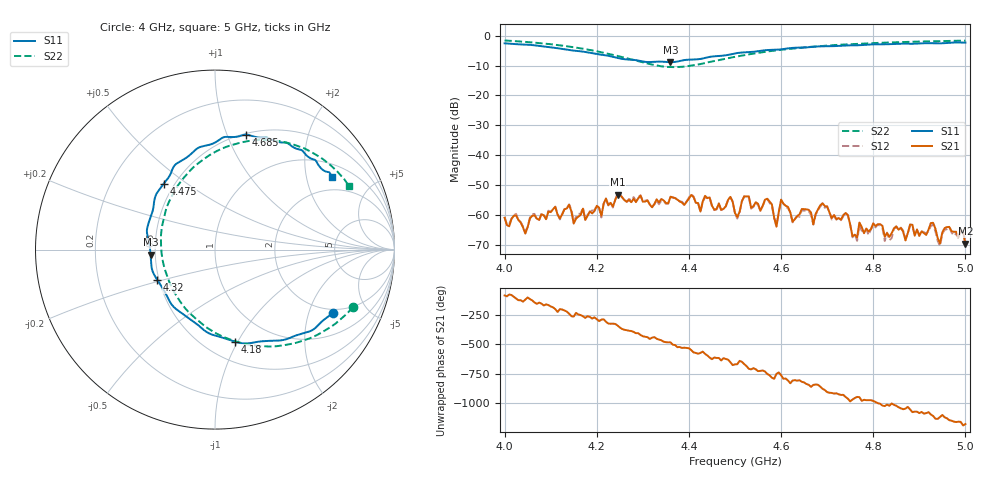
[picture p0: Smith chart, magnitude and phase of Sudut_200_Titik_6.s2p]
# Hz S RI R 50
! CMT, C1220, 16058040, 17.2.0/1
! Date: 15/08/2018 12:11:59
! Data: Format (Calibration Info)
! Freq  S11: Re/Im (F2)  S21: Re/Im (F2)  S12: Re/Im (F2)  S22: Re/Im (F2)
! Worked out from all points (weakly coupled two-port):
!   201 points, 4 GHz to 5 GHz, reference 50 ohm
!   highest |S21| = -53.24 dB at 4.245 GHz (marker M1); lowest = -69.7 dB at 5 GHz (marker M2)
!   lowest |S11| = -8.9 dB at 4.36 GHz (marker M3), VSWR 2.13, Z = 23.6 - j1.52 ohm
!   |S11| at or under -10 dB: nowhere
!   |S22| runs from -10.5 to -1.6 dB; largest |S21 - S12| = 0.00015
!   S11 on the Smith chart (normalised r, x): 4 GHz: 1.81, -2.90; 4.18 GHz: 0.69, -0.98; 4.32 GHz: 0.49, -0.19; 4.475 GHz: 0.44, +0.41; 4.685 GHz: 0.51, +1.17; 5 GHz: 1.45, +2.84
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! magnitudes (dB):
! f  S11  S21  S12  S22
! 4 GHz  -2.6  -61.0  -60.8  -1.6
! 4.045 GHz  -3.0  -66.3  -65.5  -2.1
! 4.17 GHz  -5.3  -58.0  -57.6  -4.4
! 4.18 GHz  -5.6  -60.4  -60.0  -4.6
! 4.245 GHz  -7.4  -53.2  -52.8  -6.8
! 4.32 GHz  -8.8  -57.5  -57.3  -9.7
! 4.335 GHz  -8.7  -55.9  -56.5  -10.1
! 4.36 GHz  -8.9  -54.0  -54.2  -10.5
! 4.475 GHz  -6.7  -58.1  -58.0  -7.9
! 4.5 GHz  -5.9  -59.5  -59.6  -7.1
! 4.57 GHz  -4.8  -54.6  -54.7  -5.3
! 4.59 GHz  -4.7  -64.0  -63.2  -4.9
! 4.6 GHz  -4.6  -54.9  -55.1  -4.7
! 4.67 GHz  -3.7  -63.2  -63.4  -3.7
! 4.685 GHz  -3.6  -56.9  -57.3  -3.5
! 4.745 GHz  -3.2  -60.1  -60.1  -2.9
! 4.765 GHz  -3.2  -67.6  -68.8  -2.7
! 4.835 GHz  -2.8  -67.4  -68.5  -2.3
! 4.93 GHz  -2.5  -62.7  -63.4  -1.8
! 4.945 GHz  -2.6  -69.6  -70.5  -1.8
! 4.965 GHz  -2.4  -64.1  -64.2  -1.7
! 5 GHz  -2.3  -69.7  -69.8  -1.6
